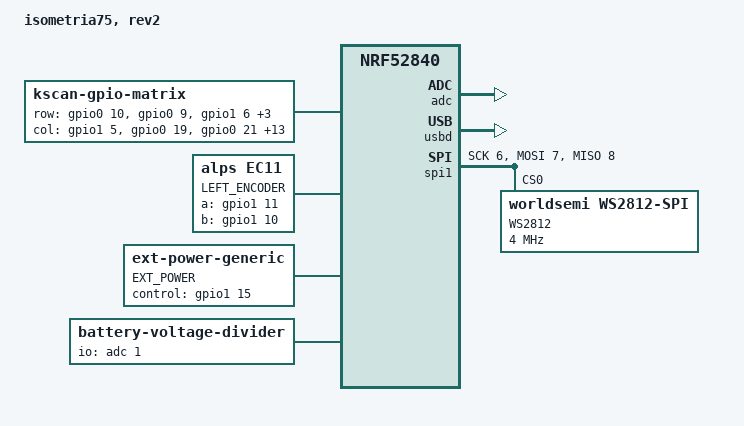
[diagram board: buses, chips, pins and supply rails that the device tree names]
/*
 * Copyright (c) 2020 The ZMK Contributors
 *
 * SPDX-License-Identifier: MIT
 */

/dts-v1/;
#include <nordic/nrf52840_qiaa.dtsi>
#include <dt-bindings/led/led.h>

/ {
	model = "isometria75, rev2";
	compatible = "isometria75,rev2";

	chosen {
		zephyr,code-partition = &code_partition;
		zephyr,sram = &sram0;
		zephyr,flash = &flash0;
		zmk,kscan = &kscan0;
		zmk,underglow = &led_strip;
	};
 
	kscan0: kscan {
		compatible = "zmk,kscan-gpio-matrix";
		label = "KSCAN";
		diode-direction = "col2row";
	    debounce-press-ms = <5>;
		debounce-release-ms = <10>;
		row-gpios
			= <&gpio0 10 (GPIO_ACTIVE_HIGH | GPIO_PULL_DOWN)>
			, <&gpio0 9  (GPIO_ACTIVE_HIGH | GPIO_PULL_DOWN)>
			, <&gpio1 6  (GPIO_ACTIVE_HIGH | GPIO_PULL_DOWN)>
			, <&gpio1 4  (GPIO_ACTIVE_HIGH | GPIO_PULL_DOWN)>
			, <&gpio1 2  (GPIO_ACTIVE_HIGH | GPIO_PULL_DOWN)>
			, <&gpio1 1  (GPIO_ACTIVE_HIGH | GPIO_PULL_DOWN)>
			;
		col-gpios
			= <&gpio1 5  GPIO_ACTIVE_HIGH>
			, <&gpio0 19 GPIO_ACTIVE_HIGH>
			, <&gpio0 21 GPIO_ACTIVE_HIGH>
			, <&gpio0 23 GPIO_ACTIVE_HIGH>
			, <&gpio0 12 GPIO_ACTIVE_HIGH>
			, <&gpio1 9  GPIO_ACTIVE_HIGH>
			, <&gpio0 5  GPIO_ACTIVE_HIGH>
			, <&gpio0 22 GPIO_ACTIVE_HIGH>
			, <&gpio1 0  GPIO_ACTIVE_HIGH>
			, <&gpio1 3  GPIO_ACTIVE_HIGH>
			, <&gpio0 2  GPIO_ACTIVE_HIGH>
			, <&gpio0 28 GPIO_ACTIVE_HIGH>
			, <&gpio0 29 GPIO_ACTIVE_HIGH>
			, <&gpio0 30 GPIO_ACTIVE_HIGH>
			, <&gpio0 31 GPIO_ACTIVE_HIGH>
			, <&gpio0 4  GPIO_ACTIVE_HIGH>
			;
	};

	sensors {
    	compatible = "zmk,keymap-sensors";
    	sensors = <&left_encoder>;
	};

	left_encoder: encoder_left {
        compatible = "alps,ec11";
        label = "LEFT_ENCODER";
        a-gpios = <&gpio1 11 (GPIO_ACTIVE_HIGH | GPIO_PULL_UP)>;
        b-gpios = <&gpio1 10 (GPIO_ACTIVE_HIGH | GPIO_PULL_UP)>;
        resolution = <2>;
    };

	ext-power {
		compatible = "zmk,ext-power-generic";
		label = "EXT_POWER";
		control-gpios = <&gpio1 15 GPIO_ACTIVE_HIGH>;
	};

	vbatt {
		compatible = "zmk,battery-voltage-divider";
		label = "BATTERY";
		io-channels = <&adc 1>;
		output-ohms = <2000000>;
		full-ohms = <(2000000 + 1300000)>;
	};
};

&adc {
	status = "okay";
};

&gpio0 {
	status = "okay";
};

&gpio1 {
	status = "okay";
};
&usbd {
	status = "okay";
};

&spi1 {
  compatible = "nordic,nrf-spim";
  status = "okay";
  mosi-pin = <7>;
  // Unused pins, needed for SPI definition, but not used by the ws2812 driver itself.
  sck-pin = <6>;
  miso-pin = <8>;

  led_strip: ws2812@0 {
    compatible = "worldsemi,ws2812-spi";
    label = "WS2812";

    /* SPI */
    reg = <0>; /* ignored, but necessary for SPI bindings */
    spi-max-frequency = <4000000>;

    /* WS2812 */
    chain-length = <18>; /* number of LEDs */
    spi-one-frame = <0x70>;
    spi-zero-frame = <0x40>;
    color-mapping = <LED_COLOR_ID_GREEN
                     LED_COLOR_ID_RED
                     LED_COLOR_ID_BLUE>;
  };
};

&flash0 {
	/*
	 * For more information, see:
	 * http://docs.zephyrproject.org/latest/devices/dts/flash_partitions.html
	 */
	partitions {
		compatible = "fixed-partitions";
		#address-cells = <1>;
		#size-cells = <1>;

		sd_partition: partition@0 {
			label = "softdevice";
			reg = <0x00000000 0x00026000>;
		};
		code_partition: partition@26000 {
			label = "code_partition";
			reg = <0x00026000 0x000c6000>;
		};

		/*
		 * The flash starting at 0x000ec000 and ending at
		 * 0x000f3fff is reserved for use by the application.
		 */

		/*
		 * Storage partition will be used by FCB/LittleFS/NVS
		 * if enabled.
		 */
		storage_partition: partition@ec000 {
			label = "storage";
			reg = <0x000ec000 0x00008000>;
		};

		boot_partition: partition@f4000 {
			label = "adafruit_boot";
			reg = <0x000f4000 0x0000c000>;
		};
	};
};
